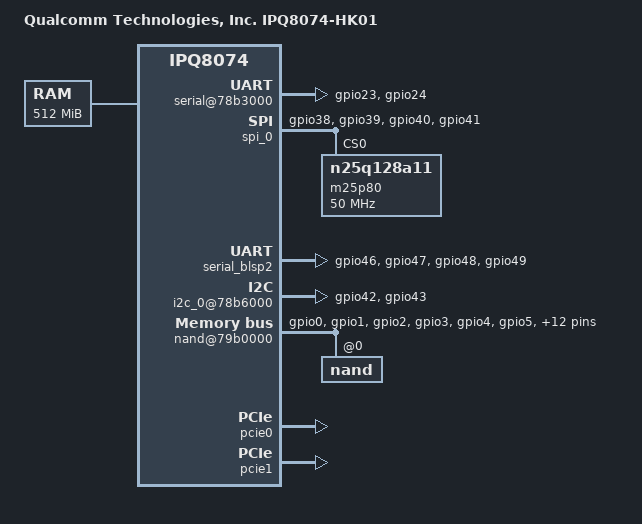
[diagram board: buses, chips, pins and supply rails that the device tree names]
/dts-v1/;
/* Copyright (c) 2017, The Linux Foundation. All rights reserved.
 *
 * This program is free software; you can redistribute it and/or modify
 * it under the terms of the GNU General Public License version 2 and
 * only version 2 as published by the Free Software Foundation.
 *
 * This program is distributed in the hope that it will be useful,
 * but WITHOUT ANY WARRANTY; without even the implied warranty of
 * MERCHANTABILITY or FITNESS FOR A PARTICULAR PURPOSE.  See the
 * GNU General Public License for more details.
 */
#include "ipq8074.dtsi"

/ {
	#address-cells = <0x2>;
	#size-cells = <0x2>;
	model = "Qualcomm Technologies, Inc. IPQ8074-HK01";
	compatible = "qcom,ipq8074-hk01", "qcom,ipq8074";
	interrupt-parent = <&intc>;

	aliases {
		serial0 = &blsp1_uart5;
		serial1 = &serial_blsp2;
	};

	chosen {
		stdout-path = "serial0";
	};

	memory {
		device_type = "memory";
		reg = <0x0 0x40000000 0x0 0x20000000>;
	};

	soc {
		pinctrl@1000000 {
			serial_4_pins: serial4_pinmux {
				mux {
					pins = "gpio23", "gpio24";
					function = "blsp4_uart1";
					bias-disable;
				};
			};

			 i2c_0_pins: i2c_0_pinmux {
				  mux {
					   pins = "gpio42", "gpio43";
					   function = "blsp1_i2c";
					   drive-strength = <8>;
					   bias-disable;
				  };
			 };

			 spi_0_pins: spi_0_pins {
				  mux {
					   pins = "gpio38", "gpio39", "gpio40", "gpio41";
					   function = "blsp0_spi";
					   drive-strength = <8>;
					   bias-disable;
				  };
			 };

			 hsuart_pins: hsuart_pins {
				  mux {
					   pins = "gpio46", "gpio47", "gpio48", "gpio49";
					   function = "blsp2_uart";
					   drive-strength = <8>;
					   bias-disable;
				  };
			 };

			 qpic_pins: qpic_pins {
				mux {
					   pins = "gpio0", "gpio1", "gpio2", "gpio3", "gpio4",
						"gpio5", "gpio6", "gpio7", "gpio8", "gpio9",
						   "gpio10", "gpio11", "gpio12", "gpio13",
						"gpio14", "gpio15", "gpio16", "gpio17";
					   function = "qpic";
					   drive-strength = <8>;
					   bias-disable;
				  };
			};

		};

		serial@78b3000 {
			pinctrl-0 = <&serial_4_pins>;
			pinctrl-names = "default";
			status = "ok";
		};

		spi_0: spi@78b5000 {
			 pinctrl-0 = <&spi_0_pins>;
			 pinctrl-names = "default";
			 status = "ok";

			 m25p80@0 {
				  #address-cells = <1>;
				  #size-cells = <1>;
				compatible = "n25q128a11", "jedec,spi-nor";
				  reg = <0>;
				  spi-max-frequency = <50000000>;
			 };
		};

		serial_blsp2: serial@78B1000 {
			 pinctrl-0 = <&hsuart_pins>;
			 pinctrl-names = "default";
			 status = "ok";
		};

		i2c_0@78b6000 {
			 pinctrl-0 = <&i2c_0_pins>;
			 pinctrl-names = "default";
			 status = "ok";
		};

		i2c_1@78b7000 {
			 status = "disabled";
		};

		dma@7984000 {
			 status = "ok";
		};

		nand@79b0000 {
			 pinctrl-0 = <&qpic_pins>;
			 pinctrl-names = "default";
			 status = "ok";

			nand@0 {
				reg = <0>;
				nand-ecc-strength = <4>;
				nand-ecc-step-size = <512>;
				nand-bus-width = <8>;
			};

		};

		pcie0: pci@20000000 {
			status = "ok";
			perst-gpio = <&tlmm 58 0x1>;
		};

		pcie1: pci@10000000 {
			status = "ok";
			perst-gpio = <&tlmm 61 0x1>;
		};
	};
};
